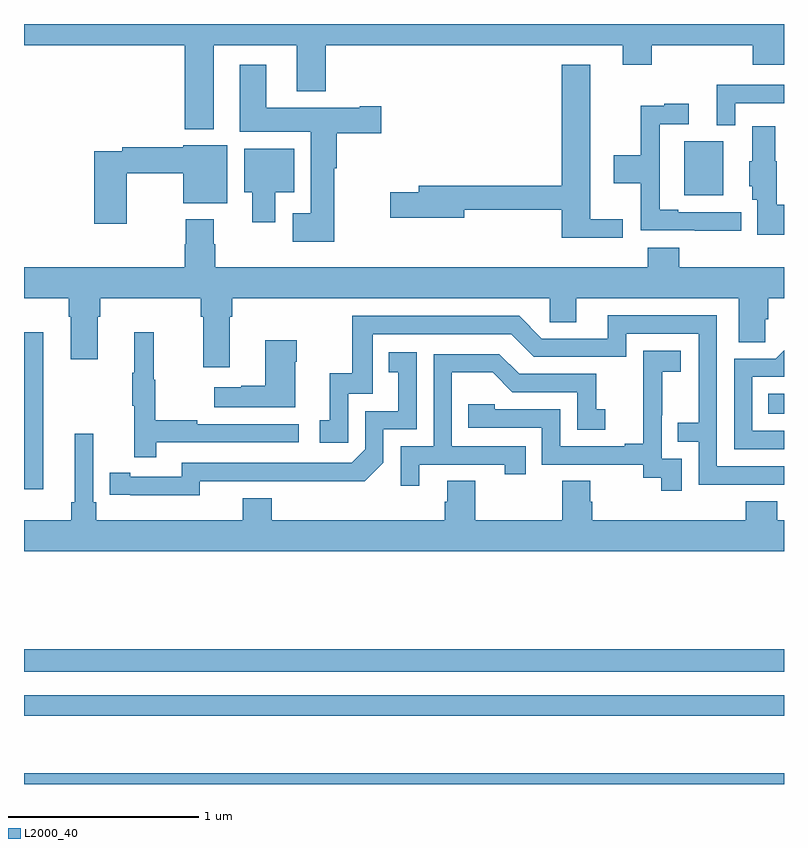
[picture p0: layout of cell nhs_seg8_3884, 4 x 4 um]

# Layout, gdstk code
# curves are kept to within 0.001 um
import gdstk
lib = gdstk.Library(unit=1e-6, precision=1e-09)
def R(c, l, rs):  # rectangles x0, y0, x1, y1
    for r in rs: c.add(gdstk.rectangle(r[:2], r[2:], *l))
def P(c, l, *ps):  # polygons
    for p in ps: c.add(gdstk.Polygon(p, *l))
L2000_40 = (2000, 40)

nhs_seg8_3884 = lib.new_cell('nhs_seg8_3884')
R(nhs_seg8_3884, L2000_40, [(349,1157.9,353,1157.956), (349,1158.258,353,1158.366), (349,1158.492,353,1158.608), (349,1159.452,349.102,1160.278), (352.918,1159.85,353,1159.954), (352.475,1160.999,352.681,1161.283)])
P(nhs_seg8_3884, L2000_40, [(349.999,1161.788),(350.435,1161.788),(350.435,1161.545),(350.588,1161.545),(350.588,1161.788),(352.151,1161.788),(352.151,1161.686),(352.304,1161.686),(352.304,1161.788),(352.835,1161.788),(352.835,1161.686),(353,1161.686),(353,1161.9),(349,1161.9),(349,1161.788),(349.847,1161.788),(349.847,1161.347),(349.999,1161.347)],
  [(350.632,1161.142),(350.645,1161.142),(350.645,1161.326),(350.881,1161.326),(350.881,1161.468),(350.768,1161.468),(350.768,1161.46),(350.275,1161.46),(350.275,1161.685),(350.135,1161.685),(350.135,1161.332),(350.51,1161.332),(350.51,1160.905),(350.415,1160.905),(350.415,1160.753),(350.632,1160.753)],
  [(352.15,1160.873),(351.979,1160.873),(351.979,1161.685),(351.83,1161.685),(351.83,1161.05),(351.077,1161.05),(351.077,1161.014),(350.928,1161.014),(350.928,1160.879),(351.316,1160.879),(351.316,1160.922),(351.83,1160.922),(351.83,1160.774),(352.15,1160.774)],
  [(352.743,1161.483),(353,1161.483),(353,1161.579),(352.646,1161.579),(352.646,1161.368),(352.743,1161.368)],
  [(352.774,1160.91),(352.444,1160.91),(352.444,1160.923),(352.347,1160.923),(352.347,1161.372),(352.498,1161.372),(352.498,1161.481),(352.37,1161.481),(352.37,1161.47),(352.246,1161.47),(352.246,1161.21),(352.104,1161.21),(352.104,1161.062),(352.246,1161.062),(352.246,1160.814),(352.531,1160.814),(352.531,1160.813),(352.774,1160.813)],
  [(353,1160.95),(352.963,1160.95),(352.963,1161.177),(352.954,1161.177),(352.954,1161.361),(352.832,1161.361),(352.832,1161.177),(352.817,1161.177),(352.817,1161.045),(352.832,1161.045),(352.832,1160.976),(352.859,1160.976),(352.859,1160.792),(353,1160.792)],
  [(349.54,1161.115),(349.838,1161.115),(349.838,1160.957),(350.071,1160.957),(350.071,1161.262),(349.838,1161.262),(349.838,1161.251),(349.516,1161.251),(349.516,1161.231),(349.37,1161.231),(349.37,1160.85),(349.54,1160.85)],
  [(350.323,1161.014),(350.422,1161.014),(350.422,1161.244),(350.159,1161.244),(350.159,1161.014),(350.201,1161.014),(350.201,1160.856),(350.323,1160.856)],
  [(350.083,1160.36),(350.096,1160.36),(350.096,1160.456),(351.768,1160.456),(351.768,1160.329),(351.907,1160.329),(351.907,1160.456),(352.763,1160.456),(352.763,1160.224),(352.902,1160.224),(352.902,1160.347),(352.916,1160.347),(352.916,1160.456),(353,1160.456),(353,1160.62),(352.448,1160.62),(352.448,1160.722),(352.283,1160.722),(352.283,1160.62),(350.007,1160.62),(350.007,1160.741),(349.999,1160.741),(349.999,1160.872),(349.852,1160.872),(349.852,1160.741),(349.847,1160.741),(349.847,1160.62),(349,1160.62),(349,1160.456),(349.235,1160.456),(349.235,1160.36),(349.247,1160.36),(349.247,1160.136),(349.387,1160.136),(349.387,1160.36),(349.4,1160.36),(349.4,1160.456),(349.931,1160.456),(349.931,1160.36),(349.943,1160.36),(349.943,1160.094),(350.083,1160.094)],
  [(353,1159.572),(352.647,1159.572),(352.647,1160.367),(352.073,1160.367),(352.073,1160.244),(351.726,1160.244),(351.606,1160.364),(350.727,1160.364),(350.727,1160.062),(350.609,1160.062),(350.609,1159.815),(350.556,1159.815),(350.556,1159.695),(350.706,1159.695),(350.706,1159.953),(350.835,1159.953),(350.835,1160.268),(351.564,1160.268),(351.684,1160.148),(352.17,1160.148),(352.17,1160.271),(352.551,1160.271),(352.551,1159.802),(352.441,1159.802),(352.441,1159.701),(352.551,1159.701),(352.551,1159.476),(353,1159.476)],
  [(349.697,1159.698),(350.446,1159.698),(350.446,1159.794),(349.913,1159.794),(349.913,1159.814),(349.69,1159.814),(349.69,1160.028),(349.682,1160.028),(349.682,1160.278),(349.58,1160.278),(349.58,1160.065),(349.569,1160.065),(349.569,1159.891),(349.58,1159.891),(349.58,1159.62),(349.697,1159.62)],
  [(350.428,1160.123),(350.436,1160.123),(350.436,1160.236),(350.27,1160.236),(350.27,1159.997),(350.144,1159.997),(350.144,1159.987),(350.001,1159.987),(350.001,1159.883),(350.428,1159.883)],
  [(353,1159.758),(352.833,1159.758),(352.833,1160.043),(353,1160.043),(353,1160.183),(352.956,1160.139),(352.737,1160.139),(352.737,1159.662),(353,1159.662)],
  [(352.461,1159.611),(352.356,1159.611),(352.356,1159.841),(352.358,1159.841),(352.358,1160.069),(352.456,1160.069),(352.456,1160.179),(352.258,1160.179),(352.258,1159.973),(352.259,1159.973),(352.259,1159.69),(352.163,1159.69),(352.163,1159.677),(351.822,1159.677),(351.822,1159.872),(351.477,1159.872),(351.477,1159.899),(351.337,1159.899),(351.337,1159.776),(351.726,1159.776),(351.726,1159.581),(352.26,1159.581),(352.26,1159.513),(352.353,1159.513),(352.353,1159.443),(352.461,1159.443)],
  [(349.926,1159.494),(350.794,1159.493),(350.892,1159.59),(350.892,1159.767),(351.066,1159.767),(351.066,1160.173),(350.92,1160.173),(350.92,1160.067),(350.969,1160.067),(350.969,1159.863),(350.796,1159.863),(350.796,1159.662),(350.724,1159.59),(349.83,1159.59),(349.83,1159.518),(349.558,1159.518),(349.558,1159.538),(349.45,1159.538),(349.45,1159.422),(349.926,1159.421)],
  [(351.079,1159.581),(351.53,1159.581),(351.53,1159.53),(351.641,1159.53),(351.641,1159.677),(351.252,1159.677),(351.252,1160.066),(351.466,1160.066),(351.57,1159.962),(351.912,1159.962),(351.912,1159.764),(352.06,1159.764),(352.06,1159.873),(352.011,1159.873),(352.011,1160.058),(351.607,1160.058),(351.502,1160.163),(351.156,1160.163),(351.156,1159.677),(350.982,1159.677),(350.982,1159.47),(351.079,1159.47)],
  [(353,1159.288),(352.964,1159.288),(352.964,1159.387),(352.799,1159.387),(352.799,1159.288),(351.992,1159.288),(351.992,1159.386),(351.979,1159.386),(351.979,1159.496),(351.832,1159.496),(351.832,1159.288),(351.375,1159.288),(351.375,1159.496),(351.227,1159.496),(351.227,1159.386),(351.215,1159.386),(351.215,1159.288),(350.303,1159.288),(350.303,1159.405),(350.15,1159.405),(350.15,1159.288),(349.379,1159.288),(349.379,1159.384),(349.365,1159.384),(349.365,1159.744),(349.268,1159.744),(349.268,1159.384),(349.249,1159.384),(349.249,1159.288),(349,1159.288),(349,1159.124),(353,1159.124)])

lib.write_gds('nhs_seg8_3884.gds')
